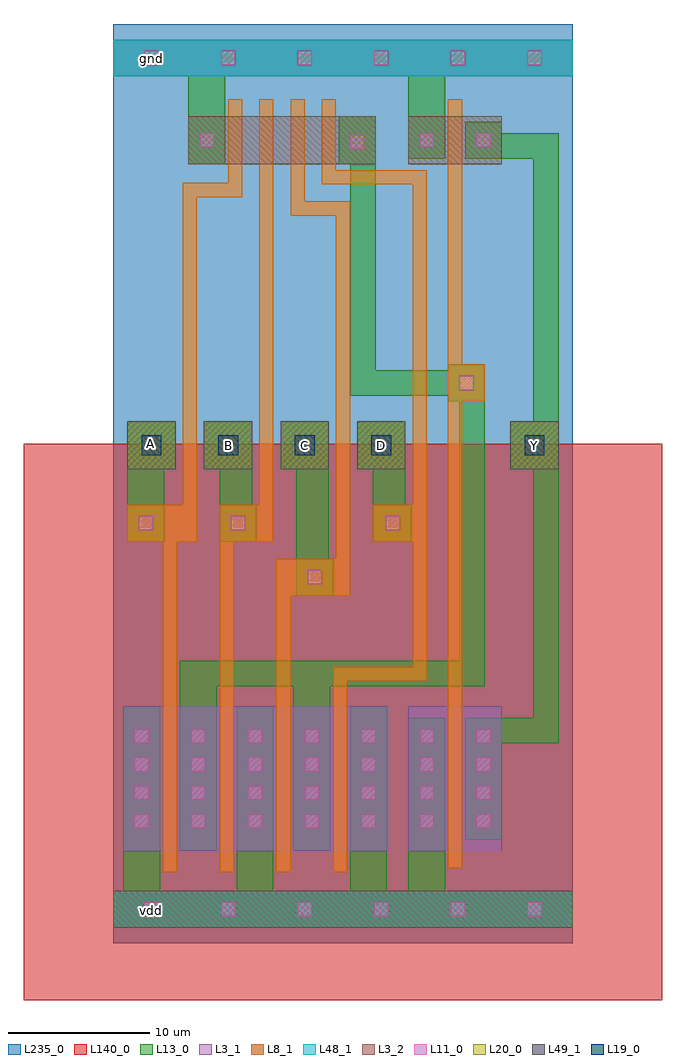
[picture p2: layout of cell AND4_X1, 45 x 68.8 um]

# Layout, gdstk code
import gdstk
lib = gdstk.Library(unit=1e-6, precision=1e-09)
def R(c, l, rs):  # rectangles x0, y0, x1, y1
    for r in rs: c.add(gdstk.rectangle(r[:2], r[2:], *l))
def A(c, l, x, y, w, h, nx, ny, dx, dy):  # array of equal rectangles
    R(c, l, [(x+i*dx, y+j*dy, x+i*dx+w, y+j*dy+h) for i in range(nx) for j in range(ny)])
def P(c, l, *ps):  # polygons
    for p in ps: c.add(gdstk.Polygon(p, *l))
L3_1 = (3, 1)
L3_2 = (3, 2)
L8_1 = (8, 1)
L11_0 = (11, 0)
L13_0 = (13, 0)
L19_0 = (19, 0)
L20_0 = (20, 0)
L48_1 = (48, 1)
L49_1 = (49, 1)
L140_0 = (140, 0)
L235_0 = (235, 0)

and4_x1 = lib.new_cell('AND4_X1')
R(and4_x1, L3_1, [(0.7,-58.3,7.3,-48.1), (4.7,-58.3,11.3,-48.1), (11.3,-58.3,19.4,-48.1), (20.8,-58.3,27.4,-48.1), (0,-3.7,32.4,-1.1)])
R(and4_x1, L3_2, [(0,-63.7,32.4,-61.1), (5.3,-9.9,18.5,-6.5), (20.8,-9.9,27.4,-6.5)])
P(and4_x1, L8_1, [(15.5,-59.8),(15.5,-45.3),(21.1,-45.3),(21.1,-36.5),(18.3,-36.5),(18.3,-33.9),(21.1,-33.9),(21.1,-11.3),(14.7,-11.3),(14.7,-5.3),(15.7,-5.3),(15.7,-10.3),(22.1,-10.3),(22.1,-46.3),(16.5,-46.3),(16.5,-59.8)],
  [(23.6,-59.5),(23.6,-5.3),(24.6,-5.3),(24.6,-24),(26.2,-24),(26.2,-26.6),(24.6,-26.6),(24.6,-59.5)],
  [(11.5,-59.8),(11.5,-37.7),(15.7,-37.7),(15.7,-13.5),(12.5,-13.5),(12.5,-5.3),(13.5,-5.3),(13.5,-12.5),(16.7,-12.5),(16.7,-40.3),(12.5,-40.3),(12.5,-59.8)],
  [(7.5,-59.8),(7.5,-33.9),(10.3,-33.9),(10.3,-5.3),(11.3,-5.3),(11.3,-36.5),(8.5,-36.5),(8.5,-59.8)],
  [(3.5,-59.8),(3.5,-36.5),(1,-36.5),(1,-33.9),(4.9,-33.9),(4.9,-11.2),(8.1,-11.2),(8.1,-5.3),(9.1,-5.3),(9.1,-12.2),(5.9,-12.2),(5.9,-36.5),(4.5,-36.5),(4.5,-59.8)])
A(and4_x1, L11_0, 18.4, -62.9, 1, 1, 3, 2, 5.4, 60)
A(and4_x1, L11_0, 1.5, -56.7, 1, 1, 5, 4, 4, 2)
A(and4_x1, L11_0, 21.6, -56.7, 1, 1, 1, 4, 0, 2)
A(and4_x1, L11_0, 25.6, -56.7, 1, 1, 1, 4, 0, 2)
R(and4_x1, L11_0, [(2.2,-62.9,3.2,-61.9), (2.2,-62.9,3.2,-61.9), (7.6,-62.9,8.6,-61.9), (7.6,-62.9,8.6,-61.9), (7.6,-62.9,8.6,-61.9), (7.6,-62.9,8.6,-61.9), (13,-62.9,14,-61.9), (13,-62.9,14,-61.9), (18.4,-62.9,19.4,-61.9), (13.7,-39.5,14.7,-38.5), (1.8,-35.7,2.8,-34.7), (8.3,-35.7,9.3,-34.7), (19.2,-35.7,20.2,-34.7), (24.4,-25.8,25.4,-24.8), (16.7,-8.8,17.7,-7.8), (6.1,-8.7,7.1,-7.7), (21.6,-8.7,22.6,-7.7), (25.6,-8.7,26.6,-7.7), (2.2,-2.9,3.2,-1.9), (7.6,-2.9,8.6,-1.9), (7.6,-2.9,8.6,-1.9), (13,-2.9,14,-1.9), (13,-2.9,14,-1.9), (18.4,-2.9,19.4,-1.9)])
A(and4_x1, L13_0, 0.7, -61.1, 2.6, 13, 3, 1, 8, 0)
R(and4_x1, L13_0, [(0,-63.7,32.4,-61.1), (20.8,-61.1,23.4,-48.9), (5.3,-9.9,7.9,-3.7), (15.9,-9.9,18.5,-6.5), (20.8,-9.5,23.4,-3.7), (24.8,-9.5,27.4,-6.9), (0,-3.7,32.4,-1.1)])
P(and4_x1, L13_0, [(1,-36.5),(1,-28),(4.4,-28),(4.4,-31.4),(3.6,-31.4),(3.6,-36.5)],
  [(7.5,-36.5),(7.5,-31.4),(6.4,-31.4),(6.4,-28),(9.8,-28),(9.8,-33.9),(10.1,-33.9),(10.1,-36.5)],
  [(18.3,-36.5),(18.3,-31.4),(17.2,-31.4),(17.2,-28),(20.6,-28),(20.6,-33.9),(21,-33.9),(21,-36.5)],
  [(12.9,-40.3),(12.9,-31.4),(11.8,-31.4),(11.8,-28),(15.2,-28),(15.2,-37.7),(15.5,-37.7),(15.5,-40.3)],
  [(24.8,-57.5),(24.8,-48.9),(29.6,-48.9),(29.6,-31.4),(28,-31.4),(28,-28),(29.6,-28),(29.6,-9.5),(27.4,-9.5),(27.4,-7.7),(31.4,-7.7),(31.4,-50.7),(27.4,-50.7),(27.4,-57.5)],
  [(4.7,-58.3),(4.7,-44.9),(24.4,-44.9),(24.4,-26.6),(23.6,-26.6),(23.6,-26.2),(16.7,-26.2),(16.7,-9.9),(18.5,-9.9),(18.5,-24.4),(23.6,-24.4),(23.6,-24),(26.2,-24),(26.2,-46.7),(15.3,-46.7),(15.3,-58.3),(12.7,-58.3),(12.7,-46.7),(7.3,-46.7),(7.3,-58.3)])
A(and4_x1, L19_0, 2, -30.4, 1.4, 1.4, 4, 1, 5.4, 0)
R(and4_x1, L19_0, [(29,-30.4,30.4,-29)])
A(and4_x1, L20_0, 1, -31.4, 3.4, 3.4, 4, 1, 5.4, 0)
R(and4_x1, L20_0, [(28,-31.4,31.4,-28)])
R(and4_x1, L48_1, [(0,-63.7,32.4,-61.1), (0,-3.7,32.4,-1.1)])
A(and4_x1, L49_1, 1, -31.4, 3.4, 3.4, 4, 1, 5.4, 0)
R(and4_x1, L49_1, [(28,-31.4,31.4,-28)])
R(and4_x1, L140_0, [(-6.3,-68.8,38.7,-29.6)])
R(and4_x1, L235_0, [(0,-64.8,32.4,0)])
and4_x1.add(gdstk.Label('gnd', (2.7,-2.4), layer=48, texttype=0))
and4_x1.add(gdstk.Label('vdd', (2.7,-62.5), layer=48, texttype=0))
and4_x1.add(gdstk.Label('Y', (29.7,-29.7), layer=49, texttype=0))
and4_x1.add(gdstk.Label('C', (13.5,-29.7), layer=49, texttype=0))
and4_x1.add(gdstk.Label('D', (18.9,-29.7), layer=49, texttype=0))
and4_x1.add(gdstk.Label('A', (2.6,-29.6), layer=49, texttype=0))
and4_x1.add(gdstk.Label('B', (8.1,-29.7), layer=49, texttype=0))

lib.write_gds('AND4_X1.gds')
